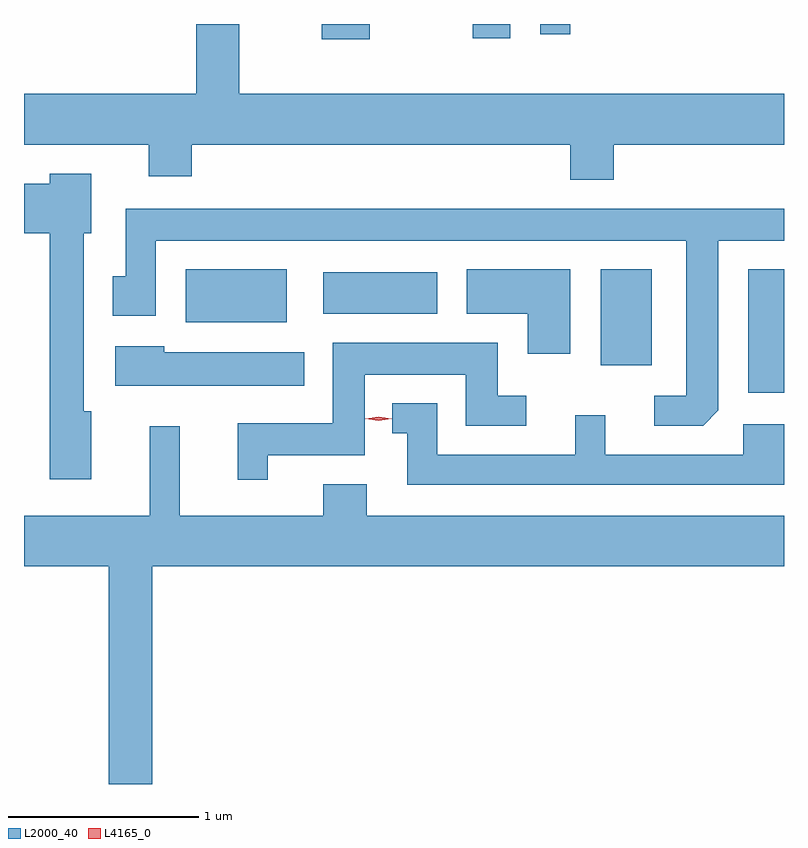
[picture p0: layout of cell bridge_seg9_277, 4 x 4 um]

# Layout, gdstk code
import gdstk
lib = gdstk.Library(unit=1e-6, precision=1e-09)
def R(c, l, rs):  # rectangles x0, y0, x1, y1
    for r in rs: c.add(gdstk.rectangle(r[:2], r[2:], *l))
def P(c, l, *ps):  # polygons
    for p in ps: c.add(gdstk.Polygon(p, *l))
L2000_40 = (2000, 40)
L4165_0 = (4165, 0)

bridge_seg9_277 = lib.new_cell('bridge_seg9_277')
R(bridge_seg9_277, L2000_40, [(985.976,2043.791,986.165,2044.439), (985.201,2043.936,985.469,2044.439), (983.016,2044.161,983.549,2044.439), (983.741,2044.206,984.339,2044.424), (983.731,2045.651,983.984,2045.731), (984.526,2045.656,984.724,2045.731), (984.881,2045.678,985.039,2045.731)])
P(bridge_seg9_277, L2000_40, [(985.269,2045.096),(986.165,2045.096),(986.165,2045.364),(983.299,2045.364),(983.299,2045.731),(983.071,2045.731),(983.071,2045.364),(982.165,2045.364),(982.165,2045.096),(982.821,2045.096),(982.821,2044.931),(983.049,2044.931),(983.049,2045.096),(985.041,2045.096),(985.041,2044.911),(985.269,2044.911)],
  [(982.519,2043.694),(982.479,2043.694),(982.479,2044.631),(982.519,2044.631),(982.519,2044.944),(982.301,2044.944),(982.301,2044.889),(982.165,2044.889),(982.165,2044.631),(982.301,2044.631),(982.301,2043.336),(982.519,2043.336)],
  [(985.819,2043.697),(985.819,2044.591),(986.165,2044.591),(986.165,2044.759),(982.701,2044.759),(982.701,2044.404),(982.631,2044.404),(982.631,2044.196),(982.859,2044.196),(982.859,2044.591),(985.651,2044.591),(985.651,2043.774),(985.483,2043.774),(985.483,2043.616),(985.739,2043.616)],
  [(985.039,2044.439),(984.496,2044.439),(984.496,2044.206),(984.816,2044.206),(984.816,2043.996),(985.039,2043.996)],
  [(983.449,2043.461),(983.959,2043.461),(983.959,2043.886),(984.491,2043.886),(984.491,2043.616),(984.808,2043.616),(984.808,2043.774),(984.659,2043.774),(984.659,2044.054),(983.791,2044.054),(983.791,2043.629),(983.291,2043.629),(983.291,2043.333),(983.449,2043.333)],
  [(983.639,2044.004),(982.904,2044.004),(982.904,2044.034),(982.646,2044.034),(982.646,2043.826),(983.639,2043.826)],
  [(986.165,2043.624),(985.951,2043.624),(985.951,2043.464),(985.224,2043.464),(985.224,2043.673),(985.066,2043.673),(985.066,2043.464),(984.339,2043.464),(984.339,2043.734),(984.103,2043.734),(984.103,2043.576),(984.181,2043.576),(984.181,2043.306),(986.165,2043.306)],
  [(982.839,2042.876),(986.165,2042.876),(986.165,2043.144),(983.969,2043.144),(983.969,2043.309),(983.741,2043.309),(983.741,2043.144),(982.984,2043.144),(982.984,2043.613),(982.826,2043.613),(982.826,2043.144),(982.165,2043.144),(982.165,2042.876),(982.611,2042.876),(982.611,2041.731),(982.839,2041.731)])
P(bridge_seg9_277, L4165_0, [(984.031,2043.644),(983.962,2043.653),(983.962,2043.654),(983.962,2043.654),(984.031,2043.664),(984.101,2043.654),(984.101,2043.654),(984.101,2043.653)])

lib.write_gds('bridge_seg9_277.gds')
